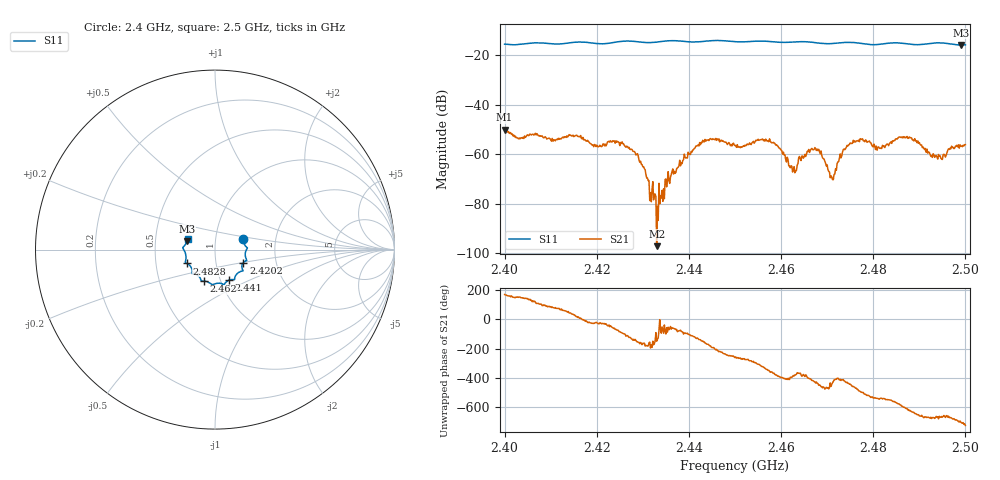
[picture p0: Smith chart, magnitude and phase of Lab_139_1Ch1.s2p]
# Hz S RI R 50
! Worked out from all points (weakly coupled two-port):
!   601 points, 2.4 GHz to 2.5 GHz, reference 50 ohm
!   highest |S21| = -50.01 dB at 2.4 GHz (marker M1); lowest = -97.2 dB at 2.433 GHz (marker M2)
!   lowest |S11| = -15.8 dB at 2.499 GHz (marker M3), VSWR 1.39, Z = 36.4 + j3.53 ohm
!   |S11| at or under -10 dB: start of sweep to end of sweep
!   S12 and S22 are empty: the file has one direction only
!   S11 on the Smith chart (normalised r, x): 2.4 GHz: 1.36, +0.17; 2.4202 GHz: 1.36, -0.20; 2.441 GHz: 1.10, -0.39; 2.462 GHz: 0.84, -0.30; 2.4828 GHz: 0.72, -0.11; 2.5 GHz: 0.73, +0.09
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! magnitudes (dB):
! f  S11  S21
! 2.4 GHz  -15.4  -50.0
! 2.4167 GHz  -14.6  -53.6
! 2.4202 GHz  -15.2  -56.8
! 2.4278 GHz  -14.3  -58.8
! 2.433 GHz  -14.6  -97.2
! 2.4333 GHz  -14.5  -86.8
! 2.441 GHz  -14.6  -58.1
! 2.445 GHz  -14.0  -54.1
! 2.45 GHz  -14.4  -56.5
! 2.458 GHz  -14.4  -55.3
! 2.462 GHz  -14.6  -65.4
! 2.463 GHz  -14.5  -67.5
! 2.4667 GHz  -14.6  -57.6
! 2.4683 GHz  -15.0  -58.9
! 2.4712 GHz  -15.2  -70.2
! 2.4752 GHz  -14.7  -55.7
! 2.4828 GHz  -15.1  -56.1
! 2.4833 GHz  -15.0  -56.5
! 2.4878 GHz  -15.4  -53.0
! 2.4945 GHz  -14.9  -60.6
! 2.499 GHz  -15.8  -56.7
! 2.5 GHz  -15.7  -56.1
